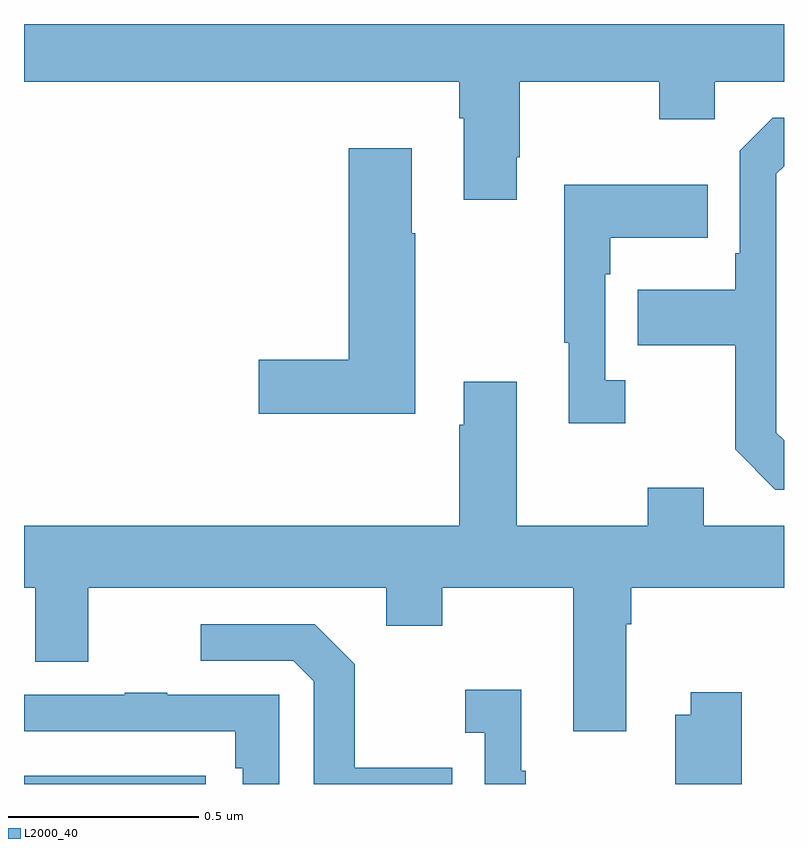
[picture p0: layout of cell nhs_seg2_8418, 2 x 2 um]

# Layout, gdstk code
import gdstk
lib = gdstk.Library(unit=1e-6, precision=1e-09)
def R(c, l, rs):  # rectangles x0, y0, x1, y1
    for r in rs: c.add(gdstk.rectangle(r[:2], r[2:], *l))
def P(c, l, *ps):  # polygons
    for p in ps: c.add(gdstk.Polygon(p, *l))
L2000_40 = (2000, 40)

nhs_seg2_8418 = lib.new_cell('nhs_seg2_8418')
R(nhs_seg2_8418, L2000_40, [(216,633.8,216.478,633.822)])
P(nhs_seg2_8418, L2000_40, [(217.297,635.449),(217.305,635.449),(217.305,635.648),(217.672,635.648),(217.672,635.549),(217.818,635.549),(217.818,635.648),(218,635.648),(218,635.8),(216,635.8),(216,635.648),(217.145,635.648),(217.145,635.552),(217.157,635.552),(217.157,635.337),(217.297,635.337)],
  [(218,634.705),(217.98,634.725),(217.98,635.406),(218,635.426),(218,635.553),(217.971,635.553),(217.884,635.466),(217.884,635.197),(217.872,635.197),(217.872,635.101),(217.615,635.101),(217.615,634.954),(217.872,634.954),(217.872,634.681),(217.977,634.575),(218,634.575)],
  [(217.029,635.249),(217.021,635.249),(217.021,635.473),(216.854,635.473),(216.854,634.916),(216.618,634.916),(216.618,634.774),(217.029,634.774)],
  [(217.582,634.862),(217.53,634.862),(217.53,635.141),(217.543,635.141),(217.543,635.237),(217.799,635.237),(217.799,635.377),(217.422,635.377),(217.422,634.961),(217.433,634.961),(217.433,634.749),(217.582,634.749)],
  [(217.585,634.22),(217.598,634.22),(217.598,634.316),(218,634.316),(218,634.48),(217.789,634.48),(217.789,634.579),(217.642,634.579),(217.642,634.48),(217.297,634.48),(217.297,634.858),(217.157,634.858),(217.157,634.745),(217.145,634.745),(217.145,634.48),(216,634.48),(216,634.316),(216.029,634.316),(216.029,634.122),(216.169,634.122),(216.169,634.316),(216.953,634.316),(216.953,634.217),(217.101,634.217),(217.101,634.316),(217.445,634.316),(217.445,633.939),(217.585,633.939)],
  [(217.127,633.843),(216.871,633.843),(216.871,634.115),(216.765,634.221),(216.465,634.221),(216.465,634.125),(216.708,634.125),(216.762,634.071),(216.762,633.8),(217.127,633.8)],
  [(217.321,633.835),(217.309,633.835),(217.309,634.048),(217.161,634.048),(217.161,633.935),(217.212,633.935),(217.212,633.8),(217.321,633.8)],
  [(217.889,634.042),(217.754,634.042),(217.754,633.982),(217.714,633.982),(217.714,633.8),(217.889,633.8)],
  [(216.672,634.035),(216.377,634.035),(216.377,634.04),(216.265,634.04),(216.265,634.035),(216,634.035),(216,633.939),(216.556,633.939),(216.556,633.842),(216.576,633.842),(216.576,633.8),(216.672,633.8)])

lib.write_gds('nhs_seg2_8418.gds')
